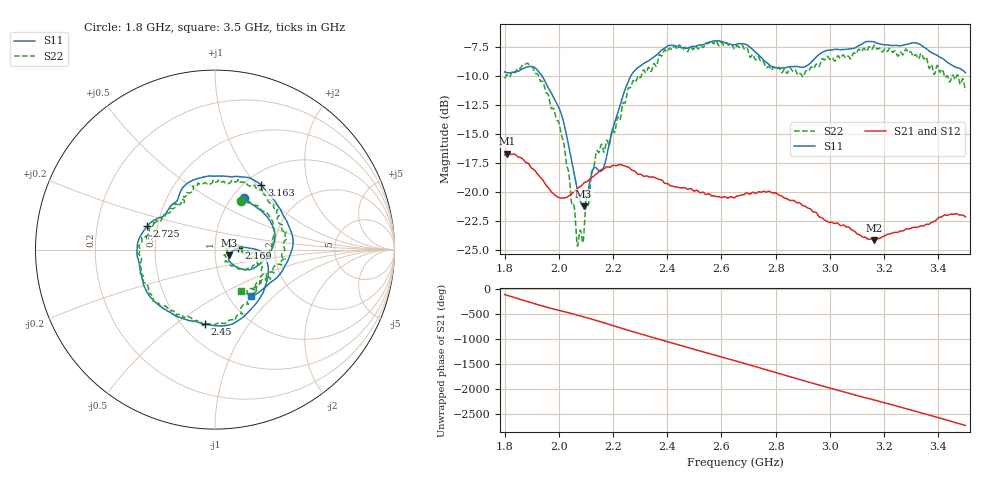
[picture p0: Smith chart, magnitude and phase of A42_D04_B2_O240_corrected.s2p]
! Created with skrf 1.9.0 (http://scikit-rf.org).
# Hz S RI R 50.0
!freq ReS11 ImS11 ReS21 ImS21 ReS12 ImS12 ReS22 ImS22
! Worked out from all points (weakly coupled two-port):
!   1601 points, 1.8 GHz to 3.5 GHz, reference 50 ohm
!   highest |S21| = -16.73 dB at 1.811 GHz (marker M1); lowest = -24.2 dB at 3.162 GHz (marker M2)
!   lowest |S11| = -21.3 dB at 2.091 GHz (marker M3), VSWR 1.19, Z = 58.6 - j3.72 ohm
!   |S11| at or under -10 dB: 1.937 GHz to 2.266 GHz (328.8 MHz wide, 15.6 % of centre)
!   |S22| runs from -24.7 to -7.0 dB; largest |S21 - S12| = 0.0023
!   S11 on the Smith chart (normalised r, x): 1.8 GHz: 1.14, +0.73; 2.169 GHz: 1.30, +0.03; 2.45 GHz: 0.64, -0.65; 2.725 GHz: 0.44, +0.14; 3.163 GHz: 1.18, +1.06; 3.5 GHz: 1.26, -0.73
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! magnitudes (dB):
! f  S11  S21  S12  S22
! 1.8 GHz  -9.7  -16.8  -16.8  -10.2
! 1.811 GHz  -9.7  -16.7  -16.7  -10.0
! 1.882 GHz  -9.3  -17.5  -17.5  -8.9
! 1.942 GHz  -10.2  -19.1  -19.1  -10.6
! 2.011 GHz  -13.5  -20.6  -20.5  -15.3
! 2.067 GHz  -19.6  -19.8  -19.8  -24.4
! 2.084 GHz  -21.1  -19.5  -19.4  -23.7
! 2.091 GHz  -21.3  -19.3  -19.3  -24.1
! 2.134 GHz  -17.9  -18.6  -18.6  -17.3
! 2.169 GHz  -17.7  -18.0  -18.0  -16.5
! 2.262 GHz  -10.2  -18.0  -18.0  -11.1
! 2.367 GHz  -8.1  -18.9  -18.9  -8.5
! 2.45 GHz  -7.6  -19.7  -19.7  -7.5
! 2.65 GHz  -7.3  -20.5  -20.5  -7.7
! 2.725 GHz  -8.0  -20.2  -20.1  -8.6
! 2.8 GHz  -9.3  -20.1  -20.1  -9.4
! 2.934 GHz  -8.8  -21.6  -21.6  -9.3
! 3.162 GHz  -7.1  -24.2  -24.1  -7.4
! 3.163 GHz  -7.1  -24.2  -24.1  -7.4
! 3.217 GHz  -7.4  -23.7  -23.6  -7.7
! 3.325 GHz  -7.2  -23.1  -23.0  -8.5
! 3.5 GHz  -9.7  -22.2  -22.1  -11.3
